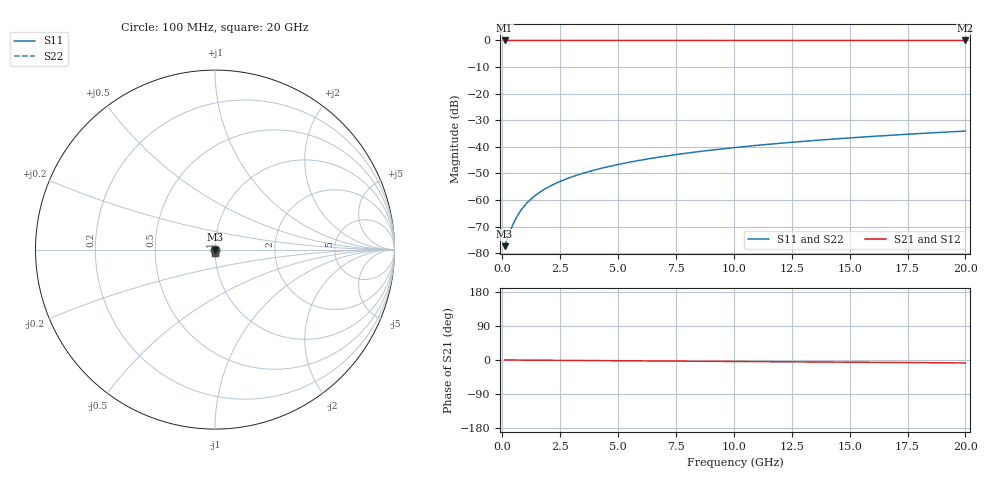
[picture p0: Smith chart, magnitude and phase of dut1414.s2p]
! Touchstone file exported from HFSS 2026.1.0
!  File:  C:/ffzhzh/LocalFiles/Ansys_Project_Files/temp_train_TSV_1414_1783197133_22436.aedt
!  Generated:  04:33:47 AM Jul  5, 2026
!  Design:  TSV
!  Project:  temp_train_TSV_1414_1783197133_22436
! Variables:
!  h_bsmrdl = 2um
!  h_ox = 20um
!  h_rdl = 5um
!  h_sub = 78.66um
!  h_tmrdl = 5um
!  h_tsv = 78.66um
!  h_via = 3um
!  l_bsmrdl = 300um
!  l_sub = 420.64um
!  l_tmrdl = 200um
!  m_sub = 200um
!  pitch = 36.05um
!  r_tsv = 10.32um
!  s_tmrdl = 10um
!  w_bsmrdl = 18um
!  w_sub = 500um
!  w_tmrdl = 12um
!  x_tsv_center1 = 206um
!  x_tsv_center2 = 524um
!  x_tsv_center3 = 736um
!  x_tsv_center4 = 1054um
!  x_tsv_center5 = 1266um
!  x_tsv_center6 = 1584um
# GHz S MA R 50.000000
! Terminal data exported
! Port[1] = TSV1_1_T1
! Port[2] = TSV1_1_T2
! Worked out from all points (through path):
!   200 points, 100 MHz to 20 GHz, reference 50 ohm
!   highest |S21| = 0.00 dB at 100 MHz (marker M1); lowest = 0.0 dB at 20 GHz (marker M2)
!   group delay of S21, straight-line fit = 1.07 ps
!   lowest |S11| = -77.4 dB at 100 MHz (marker M3), VSWR 1.00, Z = 50 - j0.00533 ohm
!   |S11| at or under -10 dB: start of sweep to end of sweep
!   |S22| runs from -77.4 to -34.1 dB; largest |S21 - S12| = 4.2e-15
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0.1  0.000135 -23.2  0.9999 -0.0  0.9999 -0.0  0.000135 -23.2
! Gamma 0 0 0 0
! Port Impedance 50 0 50 0
0.4  0.0003008 -53.2  0.9998 -0.2  0.9998 -0.2  0.0003008 -53.2
0.5  0.0003769 -57.0  0.9998 -0.2  0.9998 -0.2  0.0003769 -57.0
0.6  0.0004588 -60.0  0.9998 -0.2  0.9998 -0.2  0.0004588 -60.0
0.7  0.0005448 -62.4  0.9997 -0.3  0.9997 -0.3  0.0005448 -62.4
0.9  0.0007246 -66.2  0.9997 -0.4  0.9997 -0.4  0.0007246 -66.2
1  0.0008167 -67.8  0.9997 -0.4  0.9997 -0.4  0.0008167 -67.8
1.2  0.001003 -70.4  0.9997 -0.5  0.9997 -0.5  0.001003 -70.4
1.4  0.001191 -72.5  0.9996 -0.6  0.9996 -0.6  0.001191 -72.5
1.6  0.00138 -74.2  0.9996 -0.6  0.9996 -0.6  0.00138 -74.2
2.1  0.001852 -77.2  0.9996 -0.8  0.9996 -0.8  0.001852 -77.2
2.7  0.002421 -79.5  0.9995 -1.1  0.9995 -1.1  0.002421 -79.5
3.5  0.003187 -81.5  0.9995 -1.4  0.9995 -1.4  0.003187 -81.5
4.2  0.003863 -82.8  0.9994 -1.6  0.9994 -1.6  0.003863 -82.8
5  0.004644 -83.9  0.9993 -1.9  0.9993 -1.9  0.004644 -83.9
5.9  0.005531 -84.9  0.9993 -2.3  0.9993 -2.3  0.005531 -84.9
6.8  0.006424 -85.8  0.9992 -2.6  0.9992 -2.6  0.006424 -85.8
8.3  0.007923 -87.1  0.9991 -3.2  0.9991 -3.2  0.007923 -87.1
10.1  0.00973 -88.4  0.999 -3.9  0.999 -3.9  0.00973 -88.4
13.4  0.01306 -90.5  0.9988 -5.2  0.9988 -5.2  0.01306 -90.5
16.7  0.0164 -92.3  0.9987 -6.4  0.9987 -6.4  0.0164 -92.3
20  0.01976 -93.9  0.9985 -7.7  0.9985 -7.7  0.01976 -93.9
